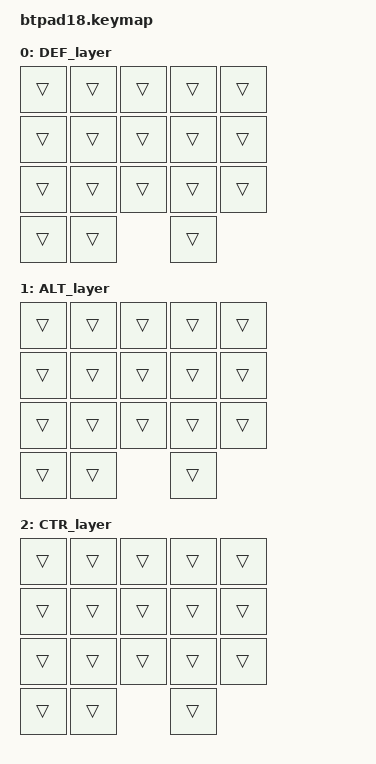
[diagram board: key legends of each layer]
/*
 * Copyright (c) 2020 The ZMK Contributors
 *
 *
 * SPDX-License-Identifier: MIT
 */

#include <behaviors.dtsi>
#include <dt-bindings/zmk/bt.h>
#include <dt-bindings/zmk/keys.h>
#include <dt-bindings/zmk/outputs.h>
#include <dt-bindings/zmk/rgb.h>

#define DEF 0
#define ALT 1
#define CTR 2

/ {
    macros {
        ma_1: ma_1 {
            label = "ma_1";
            compatible = "zmk,behavior-macro";
            #binding-cells = <0>;
            bindings =
                <&macro_press>,
                <&kp RALT>,
                <&macro_tap>,
                <&kp SEMI>,
                <&macro_release>,
                <&kp RALT>;
        };
    };
};

/ {
    behaviors {
        ht: hold_tap {
            compatible = "zmk,behavior-hold-tap";
            label = "Hold Tap";
            #binding-cells = <2>;
            tapping-term-ms = <200>;
            flavor = "tap-preferred";
            bindings = <&kp>, <&kp>;
        };
		battery_printer: battery_printer {
			compatible = "zmk,behavior-battery-printer";
			label = "BATTERY_PRINTER";
			#binding-cells = <0>;
		};
    };

    keymap {
        compatible = "zmk,keymap";

        DEF_layer {
            bindings = <
&trans &trans &trans &trans &trans
&trans &trans &trans &trans &trans
&trans &trans &trans &trans &trans
&trans &trans        &trans
            >;
        };

        ALT_layer {
            bindings = <
&trans &trans &trans &trans &trans
&trans &trans &trans &trans &trans
&trans &trans &trans &trans &trans
&trans &trans        &trans
            >;
        };

        CTR_layer {
            bindings = <
&trans &trans &trans &trans &trans
&trans &trans &trans &trans &trans
&trans &trans &trans &trans &trans
&trans &trans        &trans
            >;
        };
    };
};
